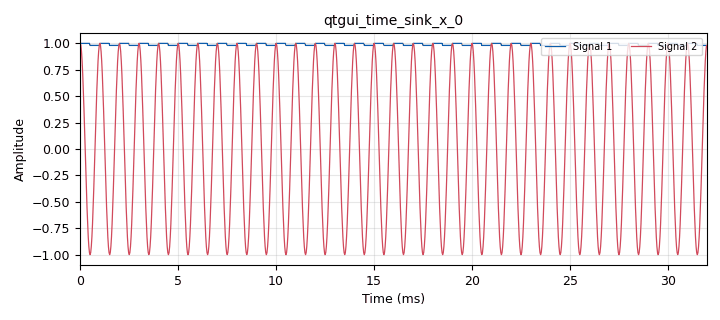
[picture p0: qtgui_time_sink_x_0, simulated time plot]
options:
  parameters:
    author: opensourcesdr
    generate_options: qt_gui
    id: python_block_vectors
    output_language: python
    title: python_block_vectors
  states: {}

blocks:
- name: samp_rate
  id: variable
  parameters:
    value: '32000'
  states: {}
- name: vectorLength
  id: variable
  parameters:
    value: '16'
  states: {}
- name: analog_sig_source_x_0
  id: analog_sig_source_x
  parameters:
    amp: '1'
    freq: '1000'
    offset: '0'
    phase: '0'
    samp_rate: samp_rate
    type: float
    waveform: analog.GR_COS_WAVE
  states: {}
- name: blocks_stream_to_vector_0
  id: blocks_stream_to_vector
  parameters:
    num_items: vectorLength
    type: float
  states: {}
- name: blocks_throttle_0
  id: blocks_throttle
  parameters:
    samples_per_second: samp_rate
    type: float
  states: {}
- name: blocks_vector_to_stream_0
  id: blocks_vector_to_stream
  parameters:
    num_items: vectorLength
    type: float
  states: {}
- name: epy_block_0
  id: epy_block
  parameters:
    _source_code: |
      """
      Embedded Python Blocks:

      Each time this file is saved, GRC will instantiate the first class it finds
      to get ports and parameters of your block. The arguments to __init__  will
      be the parameters. All of them are required to have default values!
      """

      import numpy as np
      from gnuradio import gr


      class blk(gr.sync_block):  # other base classes are basic_block, decim_block, interp_block
          """Embedded Python Block example - a simple multiply const"""

          def __init__(self, vectorSize=16):  # only default arguments here
              """arguments to this function show up as parameters in GRC"""
              gr.sync_block.__init__(
                  self,
                  name='Max Hold Block',   # will show up in GRC
                  in_sig=[(np.float32,vectorSize)],
                  out_sig=[(np.float32,vectorSize)]
              )
              # if an attribute with the same name as a parameter is found,
              # a callback is registered (properties work, too).
      	#  remove signature        self.vectorSize = vectorSize

          def work(self, input_items, output_items):
              """example: multiply with constant"""
              output_items[0][:] = input_items[0] 
              for vectorIndex in range(len(input_items[0])):
              	maxValue = np.max(input_items[0][vectorIndex])
              	output_items[0][vectorIndex][:] = maxValue # put maxValue in vector
              return len(output_items[0])
    vectorSize: '16'
  states: {}
- name: qtgui_time_sink_x_0
  id: qtgui_time_sink_x
  parameters:
    autoscale: 'True'
    nconnections: '2'
    size: '1024'
    srate: samp_rate
    type: float
  states: {}
- name: virtual_sink_0
  id: virtual_sink
  parameters:
    stream_id: sinusoid
  states: {}
- name: virtual_source_0
  id: virtual_source
  parameters:
    stream_id: sinusoid
  states: {}

connections:
- [analog_sig_source_x_0, '0', blocks_throttle_0, '0']
- [analog_sig_source_x_0, '0', virtual_sink_0, '0']
- [blocks_stream_to_vector_0, '0', epy_block_0, '0']
- [blocks_throttle_0, '0', blocks_stream_to_vector_0, '0']
- [blocks_vector_to_stream_0, '0', qtgui_time_sink_x_0, '0']
- [epy_block_0, '0', blocks_vector_to_stream_0, '0']
- [virtual_source_0, '0', qtgui_time_sink_x_0, '1']

metadata:
  file_format: 1
